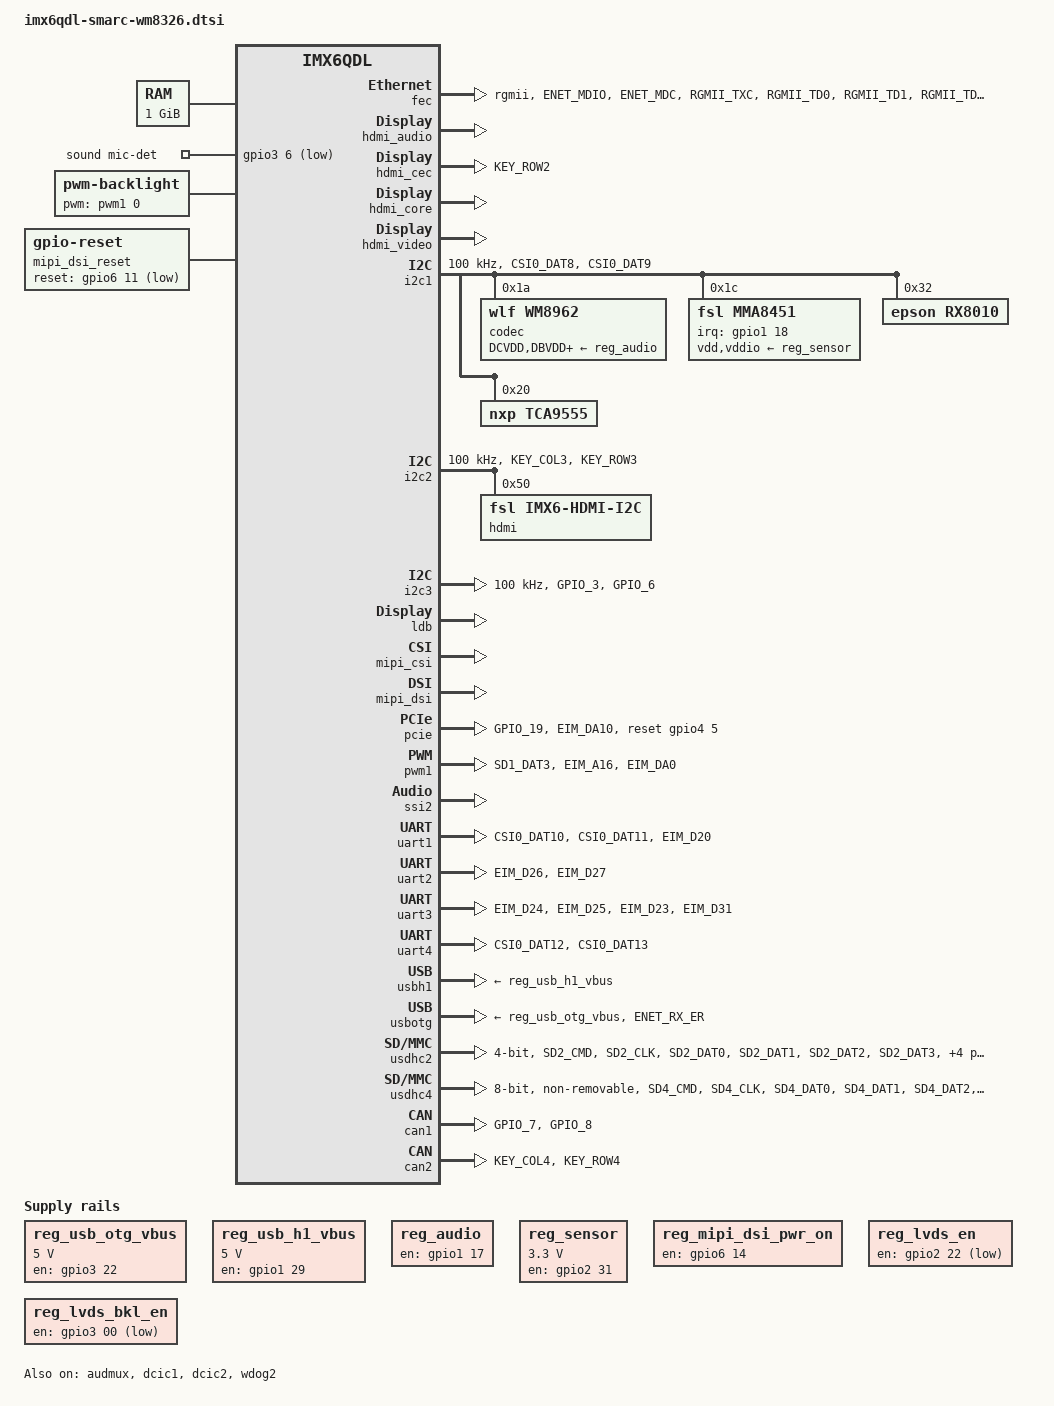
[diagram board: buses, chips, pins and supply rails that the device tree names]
/*
 * Copyright 2012-2015 Freescale Semiconductor, Inc.
 * Copyright 2011 Linaro Ltd.
 *
 * The code contained herein is licensed under the GNU General Public
 * License. You may obtain a copy of the GNU General Public License
 * Version 2 or later at the following locations:
 *
 * http://www.opensource.org/licenses/gpl-license.html
 * http://www.gnu.org/copyleft/gpl.html
 */

#include <dt-bindings/gpio/gpio.h>
#include <dt-bindings/input/input.h>

/ {
	aliases {
		mxcfb0 = &mxcfb1;
		mxcfb1 = &mxcfb2;
		mxcfb2 = &mxcfb3;
		mxcfb3 = &mxcfb4;
	};

	hannstar_cabc {
		compatible = "hannstar,cabc";
		lvds0 {
			gpios = <&gpio6 15 GPIO_ACTIVE_HIGH>;
		};
		lvds1 {
			gpios = <&gpio6 16 GPIO_ACTIVE_HIGH>;
		};
	};

	chosen {
		stdout-path = &uart1;
	};

	memory: memory {
		reg = <0x10000000 0x40000000>;
	};

	regulators {
		compatible = "simple-bus";
		#address-cells = <1>;
		#size-cells = <0>;

		reg_usb_otg_vbus: regulator@0 {
			compatible = "regulator-fixed";
			reg = <0>;
			regulator-name = "usb_otg_vbus";
			regulator-min-microvolt = <5000000>;
			regulator-max-microvolt = <5000000>;
			gpio = <&gpio3 22 0>;
			enable-active-high;
		};

		reg_usb_h1_vbus: regulator@1 {
			compatible = "regulator-fixed";
			reg = <1>;
			regulator-name = "usb_h1_vbus";
			regulator-min-microvolt = <5000000>;
			regulator-max-microvolt = <5000000>;
			gpio = <&gpio1 29 0>;
			enable-active-high;
		};

		reg_audio: regulator@2 {
			compatible = "regulator-fixed";
			reg = <2>;
			regulator-name = "wm8962-supply";
			gpio = <&gpio1 17 0>;
			enable-active-high;
		};

		reg_sensor: regulator@4 {
			compatible = "regulator-fixed";
			reg = <4>;
			regulator-name = "sensor-supply";
			regulator-min-microvolt = <3300000>;
			regulator-max-microvolt = <3300000>;
			gpio = <&gpio2 31 0>;
			startup-delay-us = <500>;
			enable-active-high;
		};

		reg_mipi_dsi_pwr_on: mipi_dsi_pwr_on {
			compatible = "regulator-fixed";
			regulator-name = "mipi_dsi_pwr_on";
			gpio = <&gpio6 14 0>;
			enable-active-high;
		};

        reg_lvds_en: lvds_en {
            compatible = "regulator-fixed";
            regulator-name = "lvds_en";
            gpio = <&gpio2 22 GPIO_ACTIVE_HIGH>;
        };

        reg_lvds_bkl_en: lvds_bkl_en {
            compatible = "regulator-fixed";
            regulator-name = "lvds_bkl_en";
            gpio = <&gpio3 00 GPIO_ACTIVE_HIGH>;
        };
	};

	sound {
		compatible = "fsl,imx6q-sabresd-wm8962",
			   "fsl,imx-audio-wm8962";
		model = "wm8962-audio";
		cpu-dai = <&ssi2>;
		audio-codec = <&codec>;
		asrc-controller = <&asrc>;
		audio-routing =
			"Headphone Jack", "HPOUTL",
			"Headphone Jack", "HPOUTR",
			"Ext Spk", "SPKOUTL",
			"Ext Spk", "SPKOUTR",
			"AMIC", "MICBIAS",
			"IN3R", "AMIC",
			"DMIC", "MICBIAS",
			"DMICDAT", "DMIC",
			"CPU-Playback", "ASRC-Playback",
			"Playback", "CPU-Playback",
			"ASRC-Capture", "CPU-Capture",
			"CPU-Capture", "Capture";
		mux-int-port = <2>;
		mux-ext-port = <3>;
		mic-det-gpios = <&gpio3 6 1>;
	};

	sound-hdmi {
		compatible = "fsl,imx6q-audio-hdmi",
			     "fsl,imx-audio-hdmi";
		model = "imx-audio-hdmi";
		hdmi-controller = <&hdmi_audio>;
	};

    mxcfb1: fb@0 {
		compatible = "fsl,mxc_sdc_fb";
		disp_dev = "hdmi";
		interface_pix_fmt = "RGB24";
        mode_str = "1920x1080M@60";
		default_bpp = <24>;
		int_clk = <0>;
		late_init = <0>;
		status = "disabled";
	};

	mxcfb2: fb@1 {
		compatible = "fsl,mxc_sdc_fb";
		disp_dev = "lcd";
        interface_pix_fmt = "RGB24";
        mode_str = "1024x768";
        default_bpp = <24>;
		int_clk = <0>;
		late_init = <0>;
		status = "disabled";
	};

    mxcfb3: fb@2 {
		compatible = "fsl,mxc_sdc_fb";
		disp_dev = "ldb";
        interface_pix_fmt = "RGB666";
        default_bpp = <16>;
		int_clk = <0>;
		late_init = <0>;
		status = "disabled";
	};

	mxcfb4: fb@3 {
		compatible = "fsl,mxc_sdc_fb";
		disp_dev = "ldb";
		interface_pix_fmt = "RGB666";
		default_bpp = <16>;
		int_clk = <0>;
		late_init = <0>;
		status = "disabled";
	};

	lcd@0 {
		compatible = "fsl,lcd";
		ipu_id = <0>;
		disp_id = <0>;
        default_ifmt = "RGB24";
		pinctrl-names = "default";
		pinctrl-0 = <&pinctrl_ipu1>;
		status = "okay";
	};

	backlight {
		compatible = "pwm-backlight";
		pwms = <&pwm1 0 5000000>;
		brightness-levels = <0 4 8 16 32 64 128 255>;
		default-brightness-level = <7>;
		status = "okay";
	};

    v4l2_cap_0 {
        compatible = "fsl,imx6q-v4l2-capture";
        ipu_id = <0>;
        csi_id = <0>;
        mclk_source = <0>;
        status = "okay";
    };

    v4l2_cap_1 {
        compatible = "fsl,imx6q-v4l2-capture";
        ipu_id = <0>;
        csi_id = <1>;
        mclk_source = <0>;
        status = "okay";
    };

	v4l2_out {
		compatible = "fsl,mxc_v4l2_output";
		status = "okay";
	};

	mipi_dsi_reset: mipi-dsi-reset {
		compatible = "gpio-reset";
		reset-gpios = <&gpio6 11 GPIO_ACTIVE_LOW>;
		reset-delay-us = <50>;
		#reset-cells = <0>;
	};
};

&audmux {
	pinctrl-names = "default";
	pinctrl-0 = <&pinctrl_audmux>;
	status = "okay";
};

&fec {
	pinctrl-names = "default";
	pinctrl-0 = <&pinctrl_enet>;
	phy-mode = "rgmii";
	fsl,magic-packet;
	status = "okay";
};

&gpc {
	fsl,ldo-bypass = <1>;
};

&dcic1 {
	dcic_id = <0>;
	dcic_mux = "dcic-hdmi";
	status = "okay";
};

&dcic2 {
	dcic_id = <1>;
	dcic_mux = "dcic-lvds0";
	status = "okay";
};

&hdmi_audio {
	status = "okay";
};

&hdmi_cec {
	pinctrl-names = "default";
	pinctrl-0 = <&pinctrl_hdmi_cec>;
	status = "okay";
};

&hdmi_core {
	ipu_id = <0>;
	disp_id = <0>;
	status = "okay";
};

&hdmi_video {
	fsl,phy_reg_vlev = <0x0294>;
	fsl,phy_reg_cksymtx = <0x800d>;
	status = "okay";
};

&i2c1 {
	clock-frequency = <100000>;
	pinctrl-names = "default";
	pinctrl-0 = <&pinctrl_i2c1>;
	status = "okay";

	codec: wm8962@1a {
		compatible = "wlf,wm8962";
		reg = <0x1a>;
		clocks = <&clks IMX6QDL_CLK_CKO>;
		DCVDD-supply = <&reg_audio>;
		DBVDD-supply = <&reg_audio>;
		AVDD-supply = <&reg_audio>;
		CPVDD-supply = <&reg_audio>;
		MICVDD-supply = <&reg_audio>;
		PLLVDD-supply = <&reg_audio>;
		SPKVDD1-supply = <&reg_audio>;
		SPKVDD2-supply = <&reg_audio>;
		gpio-cfg = <
			0x0000 /* 0:Default */
			0x0000 /* 1:Default */
			0x0013 /* 2:FN_DMICCLK */
			0x0000 /* 3:Default */
			0x8014 /* 4:FN_DMICCDAT */
			0x0000 /* 5:Default */
		>;
		amic-mono;
       };

	mma8451@1c {
		compatible = "fsl,mma8451";
		reg = <0x1c>;
		position = <0>;
		vdd-supply = <&reg_sensor>;
		vddio-supply = <&reg_sensor>;
		interrupt-parent = <&gpio1>;
		interrupts = <18 8>;
		interrupt-route = <1>;
	};

	rx8010@32 {
		compatible = "epson,rx8010";
		reg = <0x32>;
	};

    tca9555@20 {
		compatible = "nxp,tca9555";
		reg = <0x20>;
		gpio-controller;
	};
};

&i2c2 {
	clock-frequency = <100000>;
	pinctrl-names = "default";
	pinctrl-0 = <&pinctrl_i2c2>;
	status = "okay";

	hdmi: edid@50 {
		compatible = "fsl,imx6-hdmi-i2c";
		reg = <0x50>;
	};
};

&i2c3 {
	clock-frequency = <100000>;
	pinctrl-names = "default";
	pinctrl-0 = <&pinctrl_i2c3>;
	status = "okay";
};

&iomuxc {
	imx6qdl-smarc {
		pinctrl_flexcan1: flexcan1grp {
			fsl,pins = <
                MX6QDL_PAD_GPIO_7__FLEXCAN1_TX		0x80000000
                MX6QDL_PAD_GPIO_8__FLEXCAN1_RX		0x80000000
			>;
		};

		pinctrl_flexcan2: flexcan2grp {
			fsl,pins = <
                MX6QDL_PAD_KEY_COL4__FLEXCAN2_TX	0x80000000
                MX6QDL_PAD_KEY_ROW4__FLEXCAN2_RX	0x80000000
			>;
		};

		pinctrl_audmux: audmuxgrp {
			fsl,pins = <
				MX6QDL_PAD_CSI0_DAT7__AUD3_RXD		0x130b0
				MX6QDL_PAD_CSI0_DAT4__AUD3_TXC		0x130b0
				MX6QDL_PAD_CSI0_DAT5__AUD3_TXD		0x110b0
				MX6QDL_PAD_CSI0_DAT6__AUD3_TXFS		0x130b0
				MX6QDL_PAD_GPIO_0__CCM_CLKO1		0x130b0
				MX6QDL_PAD_SD1_DAT1__GPIO1_IO17		0x80000000
				MX6QDL_PAD_EIM_DA6__GPIO3_IO06		0x80000000
			>;
		};

		pinctrl_enet: enetgrp {
			fsl,pins = <
				MX6QDL_PAD_ENET_MDIO__ENET_MDIO		0x1b0b0
				MX6QDL_PAD_ENET_MDC__ENET_MDC		0x1b0b0
				MX6QDL_PAD_RGMII_TXC__RGMII_TXC		0x1b0b0
				MX6QDL_PAD_RGMII_TD0__RGMII_TD0		0x1b0b0
				MX6QDL_PAD_RGMII_TD1__RGMII_TD1		0x1b0b0
				MX6QDL_PAD_RGMII_TD2__RGMII_TD2		0x1b0b0
				MX6QDL_PAD_RGMII_TD3__RGMII_TD3		0x1b0b0
				MX6QDL_PAD_RGMII_TX_CTL__RGMII_TX_CTL	0x1b0b0
				MX6QDL_PAD_ENET_REF_CLK__ENET_TX_CLK	0x1b0b0
				MX6QDL_PAD_RGMII_RXC__RGMII_RXC		0x1b0b0
				MX6QDL_PAD_RGMII_RD0__RGMII_RD0		0x1b0b0
				MX6QDL_PAD_RGMII_RD1__RGMII_RD1		0x1b0b0
				MX6QDL_PAD_RGMII_RD2__RGMII_RD2		0x1b0b0
				MX6QDL_PAD_RGMII_RD3__RGMII_RD3		0x1b0b0
				MX6QDL_PAD_RGMII_RX_CTL__RGMII_RX_CTL	0x1b0b0
			>;
		};

		pinctrl_hdmi_cec: hdmicecgrp {
			fsl,pins = <
				MX6QDL_PAD_KEY_ROW2__HDMI_TX_CEC_LINE 0x108b0
			>;
		};

		pinctrl_hdmi_hdcp: hdmihdcpgrp {
			fsl,pins = <
				MX6QDL_PAD_KEY_COL3__HDMI_TX_DDC_SCL 0x4001b8b1
				MX6QDL_PAD_KEY_ROW3__HDMI_TX_DDC_SDA 0x4001b8b1
			>;
		};

		pinctrl_i2c1: i2c1grp {
			fsl,pins = <
				MX6QDL_PAD_CSI0_DAT8__I2C1_SDA		0x4001b8b1
				MX6QDL_PAD_CSI0_DAT9__I2C1_SCL		0x4001b8b1
			>;
		};

		pinctrl_i2c2: i2c2grp {
			fsl,pins = <
				MX6QDL_PAD_KEY_COL3__I2C2_SCL		0x4001b8b1
				MX6QDL_PAD_KEY_ROW3__I2C2_SDA		0x4001b8b1
			>;
		};

		pinctrl_i2c3: i2c3grp {
			fsl,pins = <
				MX6QDL_PAD_GPIO_3__I2C3_SCL		0x4001b8b1
				MX6QDL_PAD_GPIO_6__I2C3_SDA		0x4001b8b1
			>;
		};

		pinctrl_ipu1: ipu1grp {
			fsl,pins = <
				MX6QDL_PAD_DI0_DISP_CLK__IPU1_DI0_DISP_CLK 0x10
				MX6QDL_PAD_DI0_PIN15__IPU1_DI0_PIN15       0x10
				MX6QDL_PAD_DI0_PIN2__IPU1_DI0_PIN02        0x10
				MX6QDL_PAD_DI0_PIN3__IPU1_DI0_PIN03        0x10
				MX6QDL_PAD_DI0_PIN4__IPU1_DI0_PIN04        0x80000000
				MX6QDL_PAD_DISP0_DAT0__IPU1_DISP0_DATA00   0x10
				MX6QDL_PAD_DISP0_DAT1__IPU1_DISP0_DATA01   0x10
				MX6QDL_PAD_DISP0_DAT2__IPU1_DISP0_DATA02   0x10
				MX6QDL_PAD_DISP0_DAT3__IPU1_DISP0_DATA03   0x10
				MX6QDL_PAD_DISP0_DAT4__IPU1_DISP0_DATA04   0x10
				MX6QDL_PAD_DISP0_DAT5__IPU1_DISP0_DATA05   0x10
				MX6QDL_PAD_DISP0_DAT6__IPU1_DISP0_DATA06   0x10
				MX6QDL_PAD_DISP0_DAT7__IPU1_DISP0_DATA07   0x10
				MX6QDL_PAD_DISP0_DAT8__IPU1_DISP0_DATA08   0x10
				MX6QDL_PAD_DISP0_DAT9__IPU1_DISP0_DATA09   0x10
				MX6QDL_PAD_DISP0_DAT10__IPU1_DISP0_DATA10  0x10
				MX6QDL_PAD_DISP0_DAT11__IPU1_DISP0_DATA11  0x10
				MX6QDL_PAD_DISP0_DAT12__IPU1_DISP0_DATA12  0x10
				MX6QDL_PAD_DISP0_DAT13__IPU1_DISP0_DATA13  0x10
				MX6QDL_PAD_DISP0_DAT14__IPU1_DISP0_DATA14  0x10
				MX6QDL_PAD_DISP0_DAT15__IPU1_DISP0_DATA15  0x10
				MX6QDL_PAD_DISP0_DAT16__IPU1_DISP0_DATA16  0x10
				MX6QDL_PAD_DISP0_DAT17__IPU1_DISP0_DATA17  0x10
				MX6QDL_PAD_DISP0_DAT18__IPU1_DISP0_DATA18  0x10
				MX6QDL_PAD_DISP0_DAT19__IPU1_DISP0_DATA19  0x10
				MX6QDL_PAD_DISP0_DAT20__IPU1_DISP0_DATA20  0x10
				MX6QDL_PAD_DISP0_DAT21__IPU1_DISP0_DATA21  0x10
				MX6QDL_PAD_DISP0_DAT22__IPU1_DISP0_DATA22  0x10
				MX6QDL_PAD_DISP0_DAT23__IPU1_DISP0_DATA23  0x10
			>;
		};

		pinctrl_pcie_1: pcie1grp-1 {
			fsl,pins = <
				MX6QDL_PAD_GPIO_19__GPIO4_IO05		0x80000000
				MX6QDL_PAD_EIM_DA10__GPIO3_IO10		0x80000000
			>;
		};

		pinctrl_pwm1: pwm1grp {
			fsl,pins = <
				MX6QDL_PAD_SD1_DAT3__PWM1_OUT		0x1b0b1
			>;
		};

        pinctrl_lvds: lvdsengrp {
            fsl,pins = <
                MX6QDL_PAD_EIM_A16__GPIO2_IO22      0x80000000
                MX6QDL_PAD_EIM_DA0__GPIO3_IO00      0x80000000
            >;
        };

        pinctrl_uart1: uart1grp {
			fsl,pins = <
				MX6QDL_PAD_CSI0_DAT10__UART1_TX_DATA	0x1b0b1
				MX6QDL_PAD_CSI0_DAT11__UART1_RX_DATA	0x1b0b1
				MX6QDL_PAD_EIM_D20__UART1_CTS_B		0x1b0b1
			>;
		};

        pinctrl_uart2: uart2grp {
			fsl,pins = <
				MX6QDL_PAD_EIM_D26__UART2_TX_DATA	0x1b0b1
				MX6QDL_PAD_EIM_D27__UART2_RX_DATA	0x1b0b1
			>;
		};

		pinctrl_uart3: uart3grp {
			fsl,pins = <
				MX6QDL_PAD_EIM_D24__UART3_TX_DATA	0x1b0b1
				MX6QDL_PAD_EIM_D25__UART3_RX_DATA	0x1b0b1
				MX6QDL_PAD_EIM_D23__UART3_RTS_B		0x1b0b1
				MX6QDL_PAD_EIM_D31__UART3_CTS_B		0x1b0b1
			>;
		};

		pinctrl_uart4: uart4grp {
			fsl,pins = <
				MX6QDL_PAD_CSI0_DAT12__UART4_TX_DATA	0x1b0b1
				MX6QDL_PAD_CSI0_DAT13__UART4_RX_DATA	0x1b0b1
			>;
		};

		pinctrl_usbotg: usbotggrp {
			fsl,pins = <
				MX6QDL_PAD_ENET_RX_ER__USB_OTG_ID	0x1705
			>;
		};

		pinctrl_usdhc2: usdhc2grp {
			fsl,pins = <
				MX6QDL_PAD_SD2_CMD__SD2_CMD		0x17059
				MX6QDL_PAD_SD2_CLK__SD2_CLK		0x10059
				MX6QDL_PAD_SD2_DAT0__SD2_DATA0		0x17059
				MX6QDL_PAD_SD2_DAT1__SD2_DATA1		0x17059
				MX6QDL_PAD_SD2_DAT2__SD2_DATA2		0x17059
				MX6QDL_PAD_SD2_DAT3__SD2_DATA3		0x17059
				MX6QDL_PAD_EIM_DA14__GPIO3_IO14		0x80000000
				MX6QDL_PAD_EIM_DA13__GPIO3_IO13		0x80000000
			>;
		};

		pinctrl_usdhc4: usdhc4grp {
			fsl,pins = <
				MX6QDL_PAD_SD4_CMD__SD4_CMD		0x17059
				MX6QDL_PAD_SD4_CLK__SD4_CLK		0x10059
				MX6QDL_PAD_SD4_DAT0__SD4_DATA0		0x17059
				MX6QDL_PAD_SD4_DAT1__SD4_DATA1		0x17059
				MX6QDL_PAD_SD4_DAT2__SD4_DATA2		0x17059
				MX6QDL_PAD_SD4_DAT3__SD4_DATA3		0x17059
				MX6QDL_PAD_SD4_DAT4__SD4_DATA4		0x17059
				MX6QDL_PAD_SD4_DAT5__SD4_DATA5		0x17059
				MX6QDL_PAD_SD4_DAT6__SD4_DATA6		0x17059
				MX6QDL_PAD_SD4_DAT7__SD4_DATA7		0x17059
			>;
		};

		pinctrl_wdog: wdoggrp {
			fsl,pins = <
				MX6QDL_PAD_GPIO_1__WDOG2_B 0x80000000
			>;
		};
	};
};

&ldb {
	status = "okay";

	lvds-channel@0 {
		fsl,data-mapping = "spwg";
        fsl,data-width = <18>;
        primary;
        status = "okay";

		display-timings {
			native-mode = <&timing0>;
			timing0: hsd100pxn1 {
                /* LQ150X1LG91 */
                clock-frequency = <65000000>;
                hactive = <1024>;
                vactive = <768>;
                hback-porch = <168>;
                hfront-porch = <8>;
                vback-porch = <29>;
                vfront-porch = <3>;
                hsync-len = <144>;
                vsync-len = <6>;

                /* FG050722DSSWDGT1 */
                /*
                clock-frequency = <25000000>;
                hactive = <640>;
                vactive = <480>;
                hback-porch = <1 114 139>;
                hfront-porch = <1 16 116>;
                vback-porch = <30 32 34>;
                vfront-porch = <1 10 45>;
                hsync-len = <5 30 5>;
                vsync-len = <1 3 5>;
                */
			};
		};
	};

	lvds-channel@1 {
		fsl,data-mapping = "spwg";
		fsl,data-width = <18>;
        status = "okay";

		display-timings {
			native-mode = <&timing1>;
			timing1: hsd100pxn1 {
                clock-frequency = <25000000>;
                hactive = <640>;
                vactive = <480>;
                hback-porch = <1 114 139>;
                hfront-porch = <1 16 116>;
                vback-porch = <30 32 34>;
                vfront-porch = <1 10 45>;
                hsync-len = <5 30 5>;
                vsync-len = <1 3 5>;
            };
		};
	};
};

&mipi_csi {
	status = "okay";
	ipu_id = <0>;
	csi_id = <1>;
	v_channel = <0>;
	lanes = <2>;
};

&mipi_dsi {
	dev_id = <0>;
	disp_id = <1>;
	lcd_panel = "TRULY-WVGA";
	disp-power-on-supply = <&reg_mipi_dsi_pwr_on>;
	resets = <&mipi_dsi_reset>;
	status = "okay";
};

&pcie {
	pinctrl-names = "default";
	pinctrl-0 = <&pinctrl_pcie_1>;
	wake-up-gpio = <&gpio3 10 0>;
	reset-gpio = <&gpio4 5 0>;
	status = "okay";
};

&pwm1 {
	pinctrl-names = "default";
    pinctrl-0 = <&pinctrl_pwm1 &pinctrl_lvds>;
	status = "okay";
};

&ssi2 {
	status = "okay";
};

&uart1 {
	pinctrl-names = "default";
	pinctrl-0 = <&pinctrl_uart1>;
	status = "okay";
};

&uart2 {
	pinctrl-names = "default";
	pinctrl-0 = <&pinctrl_uart2>;
	status = "okay";
};

&uart3 {
	pinctrl-names = "default";
	pinctrl-0 = <&pinctrl_uart3>;
	status = "okay";
};

&uart4 {
	pinctrl-names = "default";
	pinctrl-0 = <&pinctrl_uart4>;
	status = "okay";
};

&usbh1 {
	vbus-supply = <&reg_usb_h1_vbus>;
	status = "okay";
};

&usbotg {
	vbus-supply = <&reg_usb_otg_vbus>;
	pinctrl-names = "default";
	pinctrl-0 = <&pinctrl_usbotg>;
	disable-over-current;
	srp-disable;
	hnp-disable;
	adp-disable;
	status = "okay";
};

&usdhc2 {
	pinctrl-names = "default";
	pinctrl-0 = <&pinctrl_usdhc2>;
	bus-width = <4>;
	cd-gpios = <&gpio3 14 GPIO_ACTIVE_LOW>;
	wp-gpios = <&gpio3 13 GPIO_ACTIVE_LOW>;
	no-1-8-v;
	keep-power-in-suspend;
	enable-sdio-wakeup;
	status = "okay";
};

&usdhc4 {
	pinctrl-names = "default";
	pinctrl-0 = <&pinctrl_usdhc4>;
	bus-width = <8>;
	non-removable;
	no-1-8-v;
	keep-power-in-suspend;
	status = "okay";
};

&wdog1 {
	status = "disabled";
};

&wdog2 {
	pinctrl-names = "default";
	pinctrl-0 = <&pinctrl_wdog>;
	fsl,wdog_b;
	status = "okay";
};

&can1 {
    pinctrl-names = "default";
    pinctrl-0 = <&pinctrl_flexcan1>;
    status = "okay";
};

&can2 {
    pinctrl-names = "default";
    pinctrl-0 = <&pinctrl_flexcan2>;
    status = "okay";
};
